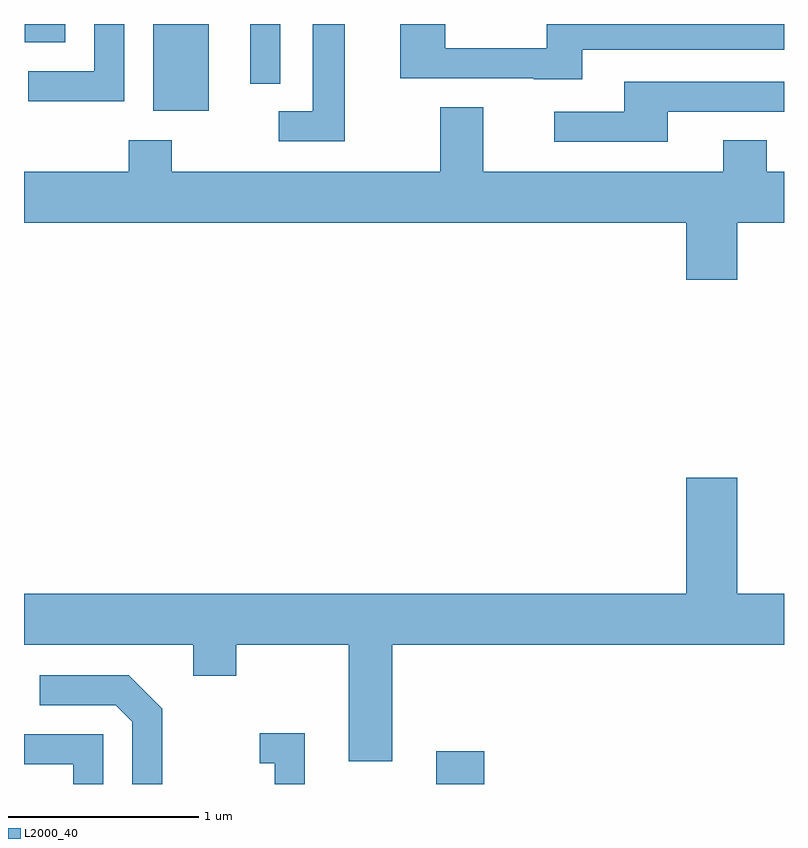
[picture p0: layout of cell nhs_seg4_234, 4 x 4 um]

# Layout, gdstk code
import gdstk
lib = gdstk.Library(unit=1e-6, precision=1e-09)
def R(c, l, rs):  # rectangles x0, y0, x1, y1
    for r in rs: c.add(gdstk.rectangle(r[:2], r[2:], *l))
def P(c, l, *ps):  # polygons
    for p in ps: c.add(gdstk.Polygon(p, *l))
L2000_40 = (2000, 40)

nhs_seg4_234 = lib.new_cell('nhs_seg4_234')
R(nhs_seg4_234, L2000_40, [(193.781,1313.982,194.034,1314.154), (192.291,1317.526,192.584,1317.982), (192.801,1317.668,192.959,1317.982), (191.616,1317.886,191.829,1317.982)])
P(nhs_seg4_234, L2000_40, [(192.139,1317.982),(191.981,1317.982),(191.981,1317.734),(191.633,1317.734),(191.633,1317.576),(192.139,1317.576)],
  [(193.299,1317.982),(193.131,1317.982),(193.131,1317.524),(192.953,1317.524),(192.953,1317.366),(193.299,1317.366)],
  [(194.549,1317.846),(195.611,1317.846),(195.611,1317.982),(194.361,1317.982),(194.361,1317.854),(193.829,1317.854),(193.829,1317.982),(193.591,1317.982),(193.591,1317.696),(194.295,1317.696),(194.295,1317.691),(194.549,1317.691)],
  [(194.999,1317.521),(195.611,1317.521),(195.611,1317.679),(194.771,1317.679),(194.771,1317.519),(194.403,1317.519),(194.403,1317.361),(194.999,1317.361)],
  [(195.364,1316.936),(195.611,1316.936),(195.611,1317.204),(195.519,1317.204),(195.519,1317.369),(195.291,1317.369),(195.291,1317.204),(194.029,1317.204),(194.029,1317.544),(193.801,1317.544),(193.801,1317.204),(192.389,1317.204),(192.389,1317.369),(192.161,1317.369),(192.161,1317.204),(191.611,1317.204),(191.611,1316.936),(195.096,1316.936),(195.096,1316.636),(195.364,1316.636)],
  [(193.549,1314.716),(195.611,1314.716),(195.611,1314.984),(195.364,1314.984),(195.364,1315.594),(195.096,1315.594),(195.096,1314.984),(191.611,1314.984),(191.611,1314.716),(192.501,1314.716),(192.501,1314.551),(192.729,1314.551),(192.729,1314.716),(193.321,1314.716),(193.321,1314.101),(193.549,1314.101)],
  [(192.339,1314.377),(192.162,1314.554),(191.693,1314.554),(191.693,1314.396),(192.094,1314.396),(192.181,1314.309),(192.181,1313.982),(192.339,1313.982)],
  [(193.089,1314.249),(192.853,1314.249),(192.853,1314.091),(192.931,1314.091),(192.931,1313.982),(193.089,1313.982)],
  [(192.029,1314.244),(191.611,1314.244),(191.611,1314.086),(191.871,1314.086),(191.871,1313.982),(192.029,1313.982)])

lib.write_gds('nhs_seg4_234.gds')
